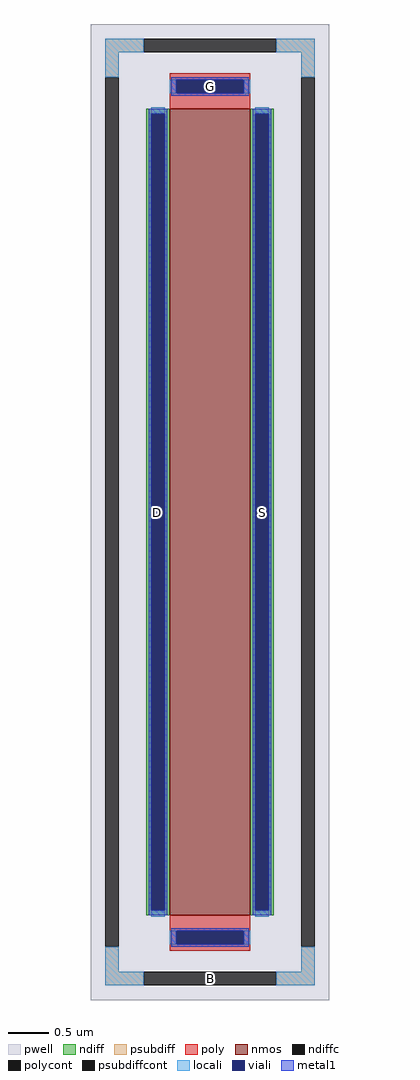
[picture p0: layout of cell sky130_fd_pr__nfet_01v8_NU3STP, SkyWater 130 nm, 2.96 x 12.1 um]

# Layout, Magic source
magic
tech sky130A
magscale 1 2
<< pwell >>
rect -296 -1210 296 1210
<< nmos >>
rect -100 -1000 100 1000
<< ndiff >>
rect -158 988 -100 1000
rect -158 -988 -146 988
rect -112 -988 -100 988
rect -158 -1000 -100 -988
rect 100 988 158 1000
rect 100 -988 112 988
rect 146 -988 158 988
rect 100 -1000 158 -988
<< ndiffc >>
rect -146 -988 -112 988
rect 112 -988 146 988
<< psubdiff >>
rect -260 1140 -164 1174
rect 164 1140 260 1174
rect -260 1078 -226 1140
rect 226 1078 260 1140
rect -260 -1140 -226 -1078
rect 226 -1140 260 -1078
rect -260 -1174 -164 -1140
rect 164 -1174 260 -1140
<< psubdiffcont >>
rect -164 1140 164 1174
rect -260 -1078 -226 1078
rect 226 -1078 260 1078
rect -164 -1174 164 -1140
<< poly >>
rect -100 1072 100 1088
rect -100 1038 -84 1072
rect 84 1038 100 1072
rect -100 1000 100 1038
rect -100 -1038 100 -1000
rect -100 -1072 -84 -1038
rect 84 -1072 100 -1038
rect -100 -1088 100 -1072
<< polycont >>
rect -84 1038 84 1072
rect -84 -1072 84 -1038
<< locali >>
rect -260 1140 -164 1174
rect 164 1140 260 1174
rect -260 1078 -226 1140
rect 226 1078 260 1140
rect -100 1038 -84 1072
rect 84 1038 100 1072
rect -146 988 -112 1004
rect -146 -1004 -112 -988
rect 112 988 146 1004
rect 112 -1004 146 -988
rect -100 -1072 -84 -1038
rect 84 -1072 100 -1038
rect -260 -1140 -226 -1078
rect 226 -1140 260 -1078
rect -260 -1174 -164 -1140
rect 164 -1174 260 -1140
<< viali >>
rect -84 1038 84 1072
rect -146 -988 -112 988
rect 112 -988 146 988
rect -84 -1072 84 -1038
<< metal1 >>
rect -96 1072 96 1078
rect -96 1038 -84 1072
rect 84 1038 96 1072
rect -96 1032 96 1038
rect -152 988 -106 1000
rect -152 -988 -146 988
rect -112 -988 -106 988
rect -152 -1000 -106 -988
rect 106 988 152 1000
rect 106 -988 112 988
rect 146 -988 152 988
rect 106 -1000 152 -988
rect -96 -1038 96 -1032
rect -96 -1072 -84 -1038
rect 84 -1072 96 -1038
rect -96 -1078 96 -1072
<< labels >>
rlabel psubdiffcont 0 -1157 0 -1157 0 B
port 1 nsew
rlabel ndiffc -129 0 -129 0 0 D
port 2 nsew
rlabel ndiffc 129 0 129 0 0 S
port 3 nsew
rlabel polycont 0 1055 0 1055 0 G
port 4 nsew
<< properties >>
string FIXED_BBOX -243 -1157 243 1157
string gencell sky130_fd_pr__nfet_01v8
string library sky130
string parameters w 10.0 l 1.0 m 1 nf 1 diffcov 100 polycov 100 guard 1 glc 1 grc 1 gtc 1 gbc 1 tbcov 100 rlcov 100 topc 1 botc 1 poverlap 0 doverlap 1 lmin 0.15 wmin 0.42 class mosfet compatible {sky130_fd_pr__nfet_01v8 sky130_fd_pr__nfet_01v8_lvt  sky130_fd_bs_flash__special_sonosfet_star  sky130_fd_pr__nfet_g5v0d10v5 sky130_fd_pr__nfet_05v0_nvt  sky130_fd_pr__nfet_03v3_nvt} full_metal 1 conn_gates 0 viasrc 100 viadrn 100 viagate 100 viagb 0 viagr 0 viagl 0 viagt 0 doports 1
<< end >>
